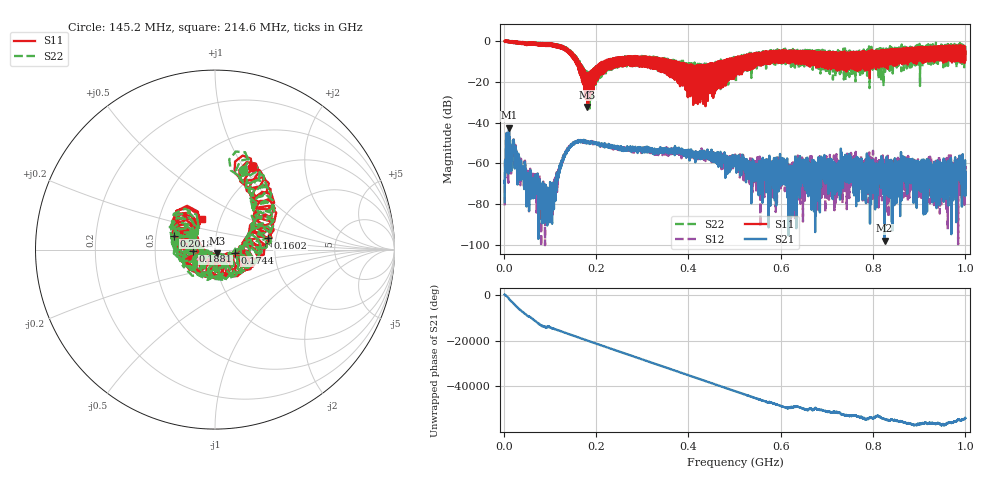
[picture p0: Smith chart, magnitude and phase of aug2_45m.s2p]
!Keysight Technologies N9923A: A.12.45
!Date: Saturday, 02 August 2025 20:00:08
!Timezone: (UTC+08:00) Kuala Lumpur, Singapore
!Model: N9923A
!Serial: MY61181427
!GPS Latitude:
!GPS Longitude:
!GPS TimeStamp: 0001-01-01 00:00:00Z
!GPS Seconds Since Last Read: 0
!CHECKSUM:1416474677
!Correction: S11(ON U)S21(ON U)S12(ON U)S22(ON U)
!S2P File: Measurements:S11,S21,S12,S22:
# Hz S DB R 50
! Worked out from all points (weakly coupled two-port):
!   4001 points, 2 MHz to 1 GHz, reference 50 ohm
!   highest |S21| = -42.57 dB at 11.48 MHz (marker M1); lowest = -97.9 dB at 824.9 MHz (marker M2)
!   lowest |S11| = -32.4 dB at 181.1 MHz (marker M3), VSWR 1.05, Z = 51 - j2.18 ohm
!   |S11| at or under -10 dB: 162.3 MHz to 218.5 MHz (56.15 MHz wide, 29.5 % of centre); 218.6 MHz to 220.1 MHz (1.482 MHz wide, 0.675 % of centre); 369.5 MHz to 473 MHz (103.5 MHz wide, 24.6 % of centre) (the widest 3 of 361)
!   |S22| runs from -33.1 to 0.2 dB; largest |S21 - S12| = 0.0023
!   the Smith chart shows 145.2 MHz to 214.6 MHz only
!   S11 on the Smith chart (normalised r, x): 145.2 MHz: 0.89, +1.09; 160.2 MHz: 1.81, +0.27; 174.4 MHz: 1.25, -0.04; 188.1 MHz: 0.78, -0.02; 201.8 MHz: 0.62, +0.10; 214.6 MHz: 0.82, +0.29
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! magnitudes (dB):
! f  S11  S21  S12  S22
! 2 MHz  -0.1  -78.9  -80.6  -0.1
! 7.988 MHz  -0.2  -50.4  -51.0  -0.1
! 11.48 MHz  -0.1  -42.6  -43.1  -0.1
! 23.21 MHz  -0.4  -53.0  -54.7  -0.4
! 51.9 MHz  -0.9  -66.1  -64.7  -0.8
! 93.07 MHz  -2.5  -79.5  -86.1  -2.3
! 145.2 MHz  -6.0  -51.3  -50.9  -6.5
! 160.2 MHz  -10.4  -49.8  -49.4  -11.4
! 168.4 MHz  -14.9  -48.9  -49.0  -16.4
! 174.4 MHz  -18.9  -49.3  -49.3  -15.6
! 181.1 MHz  -32.4  -49.6  -49.5  -19.9
! 188.1 MHz  -18.3  -49.8  -49.4  -24.5
! 201.8 MHz  -12.3  -49.9  -50.0  -12.9
! 214.6 MHz  -14.6  -50.4  -51.1  -16.4
! 334.8 MHz  -12.4  -53.0  -56.0  -8.8
! 415.4 MHz  -30.3  -55.1  -55.1  -12.8
! 501 MHz  -11.6  -58.3  -61.1  -12.4
! 620.5 MHz  -5.1  -72.6  -65.0  -10.0
! 667.4 MHz  -5.7  -70.2  -68.2  -9.6
! 824.9 MHz  -12.7  -97.9  -61.8  -5.2
! 833.8 MHz  -5.3  -60.7  -63.0  -5.1
! 1 GHz  -5.3  -64.6  -65.4  -1.8
